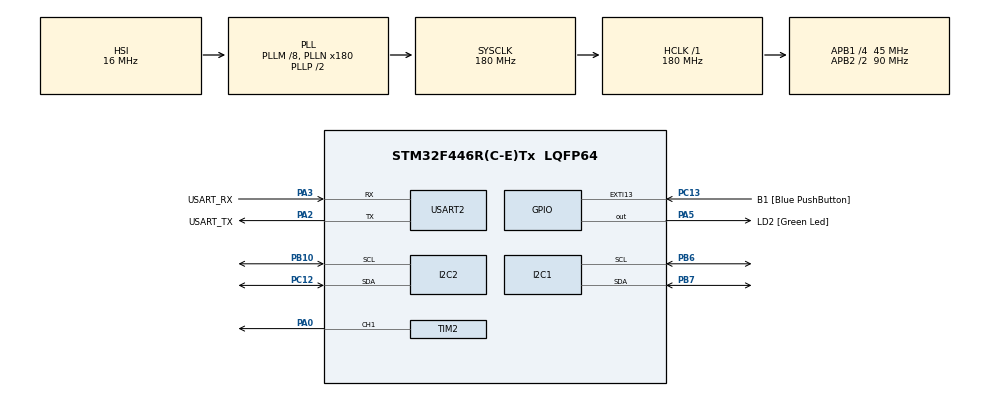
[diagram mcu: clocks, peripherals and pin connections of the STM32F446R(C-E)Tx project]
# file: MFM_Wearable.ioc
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Dma.I2C1_RX.2.Direction=DMA_PERIPH_TO_MEMORY
Dma.I2C1_RX.2.FIFOMode=DMA_FIFOMODE_DISABLE
Dma.I2C1_RX.2.Instance=DMA1_Stream0
Dma.I2C1_RX.2.MemDataAlignment=DMA_MDATAALIGN_BYTE
Dma.I2C1_RX.2.MemInc=DMA_MINC_ENABLE
Dma.I2C1_RX.2.Mode=DMA_NORMAL
Dma.I2C1_RX.2.PeriphDataAlignment=DMA_PDATAALIGN_BYTE
Dma.I2C1_RX.2.PeriphInc=DMA_PINC_DISABLE
Dma.I2C1_RX.2.Priority=DMA_PRIORITY_LOW
Dma.I2C2_RX.1.Direction=DMA_PERIPH_TO_MEMORY
Dma.I2C2_RX.1.FIFOMode=DMA_FIFOMODE_DISABLE
Dma.I2C2_RX.1.Instance=DMA1_Stream2
Dma.I2C2_RX.1.MemDataAlignment=DMA_MDATAALIGN_BYTE
Dma.I2C2_RX.1.MemInc=DMA_MINC_ENABLE
Dma.I2C2_RX.1.Mode=DMA_NORMAL
Dma.I2C2_RX.1.PeriphDataAlignment=DMA_PDATAALIGN_BYTE
Dma.I2C2_RX.1.PeriphInc=DMA_PINC_DISABLE
Dma.I2C2_RX.1.Priority=DMA_PRIORITY_LOW
Dma.Request0=USART2_RX
Dma.Request1=I2C2_RX
Dma.Request2=I2C1_RX
Dma.USART2_RX.0.Direction=DMA_PERIPH_TO_MEMORY
Dma.USART2_RX.0.FIFOMode=DMA_FIFOMODE_DISABLE
Dma.USART2_RX.0.Instance=DMA1_Stream5
Dma.USART2_RX.0.MemDataAlignment=DMA_MDATAALIGN_BYTE
Dma.USART2_RX.0.MemInc=DMA_MINC_ENABLE
Dma.USART2_RX.0.Mode=DMA_NORMAL
Dma.USART2_RX.0.PeriphDataAlignment=DMA_PDATAALIGN_BYTE
Dma.USART2_RX.0.PeriphInc=DMA_PINC_DISABLE
Dma.USART2_RX.0.Priority=DMA_PRIORITY_LOW
I2C1.I2C_Mode=I2C_Fast
I2C2.I2C_Mode=I2C_Fast
Mcu.Family=STM32F4
Mcu.Name=STM32F446R(C-E)Tx
Mcu.Package=LQFP64
NVIC.DMA1_Stream0_IRQn=true\:0\:0\:false\:false\:true\:false\:true\:true
NVIC.DMA1_Stream2_IRQn=true\:0\:0\:false\:false\:true\:false\:true\:true
NVIC.DMA1_Stream5_IRQn=true\:0\:0\:false\:false\:true\:false\:true\:true
NVIC.PriorityGroup=NVIC_PRIORITYGROUP_0
NVIC.TIM1_UP_TIM10_IRQn=true\:0\:0\:false\:false\:true\:true\:true\:true
NVIC.USART2_IRQn=true\:0\:0\:false\:false\:true\:true\:true\:true
PA0-WKUP.Signal=S_TIM2_CH1_ETR
PA13.GPIO_Label=TMS
PA13.Mode=Serial_Wire
PA13.Signal=SYS_JTMS-SWDIO
PA14.GPIO_Label=TCK
PA14.Mode=Serial_Wire
PA14.Signal=SYS_JTCK-SWCLK
PA2.GPIO_Label=USART_TX
PA2.GPIO_PuPd=GPIO_PULLUP
PA2.Mode=Asynchronous
PA2.Signal=USART2_TX
PA3.GPIO_Label=USART_RX
PA3.GPIO_PuPd=GPIO_PULLUP
PA3.Mode=Asynchronous
PA3.Signal=USART2_RX
PA5.GPIO_Label=LD2 [Green Led]
PA5.Signal=GPIO_Output
PB10.GPIO_Pu=GPIO_PULLUP
PB10.Mode=I2C
PB10.Signal=I2C2_SCL
PB3.GPIO_Label=SWO
PB3.Signal=SYS_JTDO-SWO
PB6.GPIO_Pu=GPIO_PULLUP
PB6.Mode=I2C
PB6.Signal=I2C1_SCL
PB7.GPIO_Pu=GPIO_PULLUP
PB7.Mode=I2C
PB7.Signal=I2C1_SDA
PC12.GPIO_Pu=GPIO_PULLUP
PC12.Mode=I2C
PC12.Signal=I2C2_SDA
PC13.GPIO_Label=B1 [Blue PushButton]
PC13.GPIO_ModeDefaultEXTI=GPIO_MODE_IT_FALLING
PC13.Signal=GPXTI13
PC14-OSC32_IN.Mode=LSE-External-Oscillator
PC14-OSC32_IN.Signal=RCC_OSC32_IN
PC15-OSC32_OUT.Mode=LSE-External-Oscillator
PC15-OSC32_OUT.Signal=RCC_OSC32_OUT
PH0-OSC_IN.Mode=HSE-External-Oscillator
PH0-OSC_IN.Signal=RCC_OSC_IN
PH1-OSC_OUT.Mode=HSE-External-Oscillator
PH1-OSC_OUT.Signal=RCC_OSC_OUT
ProjectManager.HeapSize=0x200
ProjectManager.StackSize=0x400
ProjectManager.TargetToolchain=STM32CubeIDE
RCC.48MHZClocksFreq_Value=84000000
RCC.AHBFreq_Value=180000000
RCC.APB1CLKDivider=RCC_HCLK_DIV4
RCC.APB1Freq_Value=45000000
RCC.APB1TimFreq_Value=90000000
RCC.APB2CLKDivider=RCC_HCLK_DIV2
RCC.APB2Freq_Value=90000000
RCC.APB2TimFreq_Value=180000000
RCC.CortexFreq_Value=180000000
RCC.FLatency-AdvancedSettings=FLASH_LATENCY_5
RCC.HCLKFreq_Value=180000000
RCC.HSE_VALUE=8000000
RCC.HSI_VALUE=16000000
RCC.PLLM=8
RCC.PLLN=180
RCC.SYSCLKFreq_VALUE=180000000
RCC.SYSCLKSource=RCC_SYSCLKSOURCE_PLLCLK
RCC.USBFreq_Value=180000000
RCC.VCOOutputFreq_Value=360000000
SH.S_TIM2_CH1_ETR.0=TIM2_CH1,PWM Generation1 CH1
TIM1.Period=59999
TIM1.Prescaler=2
TIM1.TIM_MasterOutputTrigger=TIM_TRGO_UPDATE
TIM2.Channel-PWM\ Generation1\ CH1=TIM_CHANNEL_1
TIM2.OCFastMode_PWM-PWM\ Generation1\ CH1=TIM_OCFAST_ENABLE
TIM2.Period=4499
TIM2.TIM_MasterOutputTrigger=TIM_TRGO_RESET
USART2.VirtualMode=VM_ASYNC
VP_TIM1_VS_ClockSourceINT.Mode=Internal
VP_TIM2_VS_ClockSourceINT.Mode=Internal
board=NUCLEO-F446RE

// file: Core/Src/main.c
/* USER CODE BEGIN Header */
/**
 ******************************************************************************
 * @file           : main.c
 * @brief          : Main program body
 ******************************************************************************
 * @attention
 * Copyright (c) 2025 STMicroelectronics.
 * All rights reserved.
 * This software is licensed under terms that can be found in the LICENSE file
 * in the root directory of this software component.
 * If no LICENSE file comes with this software, it is provided AS-IS.
 ******************************************************************************
 */
/* USER CODE END Header */
#include "main.h"

/* USER CODE BEGIN Includes */
#include <stdio.h>
#include <stdint.h>
#include <stdlib.h>
#include <math.h>
#include <inttypes.h>
#include <string.h>
#include <ctype.h>
#include <stdarg.h>
#include <stdbool.h>

#include "ads1115.h"
#include "filters.h"
#include "acs37800.h"
#include "controller.h"
/* USER CODE END Includes */

/* USER CODE BEGIN PD */
#define USART2_RX_BUFFER_SIZE 256
#define LINE_MAX              128

// ===== Heater electrical model =====
#define HEATER_R_NOM_OHM   3.2f
#define HEATER_TREF_C      25.0f
#define HEATER_TCR         0.00020f
#define R_FILTER_TAU_S     0.05f

// 상시 공급 전압 (내부 전력루프의 P↔duty 근사식에 사용)
#define VBUS_V             40.0f
/* USER CODE END PD */

/* USER CODE BEGIN PM */
static float Convert_Temperature(float Vin);
static void PWM_SetDuty_TIM2_CH1(float duty);
static void process_pc_line(const char* s);
static void uart2_poll_lines(void);
static inline void power_io_tick(void);
static void inner_power_tick(void);
static void PowerPI_RecalcGains(void);
static void outer_temp_tick(void);
/* USER CODE END PM */

I2C_HandleTypeDef hi2c1;
I2C_HandleTypeDef hi2c2;
DMA_HandleTypeDef hdma_i2c1_rx;
DMA_HandleTypeDef hdma_i2c2_rx;

TIM_HandleTypeDef htim1;
TIM_HandleTypeDef htim2;

UART_HandleTypeDef huart2;
DMA_HandleTypeDef hdma_usart2_rx;

/* USER CODE BEGIN PV */
volatile bool tim1Flag = 0;
volatile uint8_t loopCount = 0;

/* UART DMA buffers & line assembler (PC↔STM32 only on USART2) */
static uint8_t usart2_rx_buffer[USART2_RX_BUFFER_SIZE];
#define RX_RING_SZ 512
static uint8_t rx_ring[RX_RING_SZ];
static volatile uint16_t rx_head=0, rx_tail=0;
static char line_pc[LINE_MAX];   static uint16_t line_pc_len = 0;

/******** ADS1115 (온도) ********/
float voltageRaw = 0.0f;
float filtered_voltage = 0.0f;

/******** ACS37800: 전력 모니터 ********/
ACS37800_Handle acs;

/* SI 단위 값 (내부루프 사용) */
volatile float P_W    = 0.0f;
volatile float Vrms_V = 0.0f;
volatile float Irms_A = 0.0f;

/******** 외부 온도루프 (IMC-PI & FF) ********/
volatile float T_set_C = 25.0f;
static ControllerParams ctrlPar = {
		.Kp_proc = 10.34f,
		.tau=4.88f,
		.theta=0.64f,
		.lambda  = 15.0f,
		.Kc=0.0f,
		.Ti=42.8f,
		.Tt=0.5f,
		.Ts=0.01f,
		.u_min_W = 0.0f,
		.u_max_W=800.0f,
		.Kff     = 4.0f,
		.lam_ref = 0.0f,
		.use_dyn_ff=true,
		.theta_samp_max=799,
		.T_soft_max=85.0f,
		.T_hard_off=90.0f,
		.T_hard_rst=87.0f,
		.track_tau_s=30.0f,
		.p_off_w=0.02f,
		.duty_off=0.02f
};
static ControllerState ctrlSt;

/* ===== 모드 FSM ===== */
typedef enum { APP_IDLE=0, APP_ISOMETRIC, APP_TSTEP } AppMode_t;
typedef enum { ISO_HEAT=0, ISO_HOLD, ISO_COOL } IsoSub_t;
typedef enum { TS_GOTO=0, TS_HOLD } TstepSub_t;
static volatile AppMode_t app_mode = APP_IDLE;
static volatile IsoSub_t iso_sub = ISO_HEAT;
static volatile uint16_t iso_hold_s = 0;
static volatile uint16_t iso_cycles = 0;
static volatile uint32_t iso_cnt = 0;    // 100 Hz ticks
static volatile uint16_t inband_counter = 0;
static float             iso_target_C = 60.0f;
#define T_BAND 0.5f
#define COOL_TARGET_C 25.0f
#define BAND_COUNT_05S 50u

static volatile TstepSub_t ts_sub = TS_GOTO;
static volatile uint16_t ts_hold_s = 0;
static volatile uint16_t ts_cycles = 0;
static volatile float    ts_start = 30.0f;
static volatile float    ts_stop  = 80.0f;
static volatile float    ts_step  = 10.0f;
static volatile float    ts_curr  = 30.0f;
static volatile int8_t   ts_dir   = +1;
static volatile uint32_t ts_cnt   = 0;

/* ===== 내부(전력) 루프 PI ===== */
typedef struct { float kp, ki, Ts, Tt, i, umin, umax; } PowerPI_t;
static PowerPI_t powPI = { .kp=2e-3f, .ki=1e-2f, .Ts=0.001f, .Tt=0.02f, .i=0.0f, .umin=0.0f, .umax=0.9990f };

static volatile float P_ref_W = 0.0f;   // 외부 루프 전력 목표 (100 Hz)
static volatile float duty_cmd = 0.0f;  // 내부 루프 듀티 (1 kHz)
static float R_est_run = HEATER_R_NOM_OHM;

/* 전력센서 읽기 상태기계 */
static uint8_t acs_phase = 0;

/* 전력루프 대표 람다(사용자 조정) */
static float lam_pwr_s = 0.02f; /* [s] */
/* USER CODE END PV */

void SystemClock_Config(void);
static void MX_GPIO_Init(void);
static void MX_DMA_Init(void);
static void MX_USART2_UART_Init(void);
static void MX_I2C1_Init(void);
static void MX_I2C2_Init(void);
static void MX_TIM1_Init(void);
static void MX_TIM2_Init(void);
/* USER CODE BEGIN PFP */
int _write(int file, char* p, int len){
	HAL_UART_Transmit(&huart2, (uint8_t*)p, len, 10);
	return len;
}
/* USER CODE END PFP */

/* USER CODE BEGIN 0 */
static inline bool at_target_band(float T_meas, float T_target){
  return fabsf(T_meas - T_target) <= T_BAND;
}

static void step_isometric(float T_meas){
  switch (iso_sub){
    case ISO_HEAT:
      if (at_target_band(T_meas, T_set_C)){
        if (inband_counter < 10000) inband_counter++;
      } else {
        inband_counter = 0;
      }
      if (inband_counter >= BAND_COUNT_05S){ // 0.5s in band
        iso_cnt = (uint32_t)iso_hold_s * 100u;
        iso_sub = ISO_HOLD;
      }
      break;

    case ISO_HOLD:
      if (iso_cnt > 0) {
        iso_cnt--;
      } else {
        T_set_C = COOL_TARGET_C;
        inband_counter = 0;
        iso_sub = ISO_COOL;
      }
      break;

    case ISO_COOL:
      if (T_meas <= (COOL_TARGET_C + T_BAND)){
        if (inband_counter < 10000) inband_counter++;
      } else {
        inband_counter = 0;
      }
      if (inband_counter >= BAND_COUNT_05S){
        if (iso_cycles > 0) iso_cycles--;
        if (iso_cycles == 0){
          app_mode = APP_IDLE;
        } else {
          T_set_C = iso_target_C;
          inband_counter = 0;
          iso_sub = ISO_HEAT;
        }
      }
      break;
  }
}

static void step_tstep(float T_meas){
  switch (ts_sub){
    case TS_GOTO:
      if (at_target_band(T_meas, ts_curr)){
        ts_cnt = (uint32_t)ts_hold_s * 100u;
        ts_sub = TS_HOLD;
      }
      break;

    case TS_HOLD:
      if (ts_cnt > 0){
        ts_cnt--;
        break;
      }
      if (ts_dir > 0){ // going up
        if (ts_curr < ts_stop - 1e-6f){
          float next = ts_curr + ts_step;
          if (next > ts_stop) next = ts_stop;
          ts_curr = next; T_set_C = ts_curr; ts_sub = TS_GOTO;
        } else {
          ts_dir = -1;
          float next = ts_curr + ts_dir*ts_step;
          if (next < ts_start) next = ts_start;
          ts_curr = next; T_set_C = ts_curr; ts_sub = TS_GOTO;
        }
      } else { // going down
        if (ts_curr > ts_start + 1e-6f){
          float next = ts_curr - ts_step;
          if (next < ts_start) next = ts_start;
          ts_curr = next; T_set_C = ts_curr; ts_sub = TS_GOTO;
        } else {
          if (ts_cycles > 0) ts_cycles--;
          if (ts_cycles == 0){
            app_mode = APP_IDLE;
          } else {
            ts_dir = +1;
            float next = ts_curr + ts_step;
            if (next > ts_stop) next = ts_stop;
            ts_curr = next; T_set_C = ts_curr; ts_sub = TS_GOTO;
          }
        }
      }
      break;
  }
}
/* USER CODE END 0 */

int main(void)
{

  /* MCU Configuration--------------------------------------------------------*/

  /* Reset of all peripherals, Initializes the Flash interface and the Systick. */
  HAL_Init();

  /* Configure the system clock */
  SystemClock_Config();

  /* Initialize all configured peripherals */
  MX_GPIO_Init();
  MX_DMA_Init();
  MX_USART2_UART_Init();
  MX_I2C1_Init();
  MX_I2C2_Init();
  MX_TIM1_Init();
  MX_TIM2_Init();
  /* USER CODE BEGIN 2 */
	HAL_TIM_Base_Start_IT(&htim1);
	HAL_TIM_PWM_Start(&htim2, TIM_CHANNEL_1);

	/* USART2 (PC) DMA+IDLE */
	HAL_UARTEx_ReceiveToIdle_DMA(&huart2, usart2_rx_buffer, sizeof(usart2_rx_buffer));
	__HAL_DMA_DISABLE_IT(huart2.hdmarx, DMA_IT_HT);

	/* ADS1115 연속 변환 */
	if (ADS1115_Init_Continuous(&hi2c1, ADS1115_DATA_RATE_860, ADS1115_PGA_TWO, ADS1115_MUX_AIN0) != HAL_OK){
		printf("ADS1115 Continuous Init Failed!\r\n");
		Error_Handler();
	}

	/* ACS37800 설정 (N=32) */
	ACS37800_Init(&acs, &hi2c2, 0x60);
	ACS37800_SetTimeout(&acs, 20);
	ACS37800_SetBoardPololu(&acs, 4);
	ACS37800_SetSampleCount(&acs, 8);          // ★ N=32
	printf("ACS37800 ready (N=8)\r\n");

	/* 외부루프 IMC 파라미터 계산 & 상태 초기화 */
	Controller_SetLambda(&ctrlPar, &ctrlSt, ctrlPar.lambda);
	Controller_Init(&ctrlPar, &ctrlSt);

	PowerPI_RecalcGains();

	/* 초기 PWM 0% */
	PWM_SetDuty_TIM2_CH1(0.0f);
  /* USER CODE END 2 */

  /* Infinite loop */
  /* USER CODE BEGIN WHILE */
	while (1)
	{
		/* PC 명령 처리(메인루프) */
		uart2_poll_lines();

		if (tim1Flag) {
			tim1Flag = 0;

			/* 1 kHz: 전력센서 I/O + 내부 전력 루프 */
			power_io_tick();
			inner_power_tick();

			/* 100 Hz: 외부 온도 루프 */
			if (++loopCount >= 10) {
				loopCount = 0;
				outer_temp_tick();
			}
		}
    /* USER CODE END WHILE */

	}
}

void SystemClock_Config(void)
{
  RCC_OscInitTypeDef RCC_OscInitStruct = {0};
  RCC_ClkInitTypeDef RCC_ClkInitStruct = {0};

  /** Configure the main internal regulator output voltage
  */
  __HAL_RCC_PWR_CLK_ENABLE();
  __HAL_PWR_VOLTAGESCALING_CONFIG(PWR_REGULATOR_VOLTAGE_SCALE1);

  /** Initializes the RCC Oscillators according to the specified parameters
  * in the RCC_OscInitTypeDef structure.
  */
  RCC_OscInitStruct.OscillatorType = RCC_OSCILLATORTYPE_HSI;
  RCC_OscInitStruct.HSIState = RCC_HSI_ON;
  RCC_OscInitStruct.HSICalibrationValue = RCC_HSICALIBRATION_DEFAULT;
  RCC_OscInitStruct.PLL.PLLState = RCC_PLL_ON;
  RCC_OscInitStruct.PLL.PLLSource = RCC_PLLSOURCE_HSI;
  RCC_OscInitStruct.PLL.PLLM = 8;
  RCC_OscInitStruct.PLL.PLLN = 180;
  RCC_OscInitStruct.PLL.PLLP = RCC_PLLP_DIV2;
  RCC_OscInitStruct.PLL.PLLQ = 2;
  RCC_OscInitStruct.PLL.PLLR = 2;
  if (HAL_RCC_OscConfig(&RCC_OscInitStruct) != HAL_OK)
  {
    Error_Handler();
  }

  /** Activate the Over-Drive mode
  */
  if (HAL_PWREx_EnableOverDrive() != HAL_OK)
  {
    Error_Handler();
  }

  /** Initializes the CPU, AHB and APB buses clocks
  */
  RCC_ClkInitStruct.ClockType = RCC_CLOCKTYPE_HCLK|RCC_CLOCKTYPE_SYSCLK
                              |RCC_CLOCKTYPE_PCLK1|RCC_CLOCKTYPE_PCLK2;
  RCC_ClkInitStruct.SYSCLKSource = RCC_SYSCLKSOURCE_PLLCLK;
  RCC_ClkInitStruct.AHBCLKDivider = RCC_SYSCLK_DIV1;
  RCC_ClkInitStruct.APB1CLKDivider = RCC_HCLK_DIV4;
  RCC_ClkInitStruct.APB2CLKDivider = RCC_HCLK_DIV2;

  if (HAL_RCC_ClockConfig(&RCC_ClkInitStruct, FLASH_LATENCY_5) != HAL_OK)
  {
    Error_Handler();
  }
}

static void MX_I2C1_Init(void)
{

  hi2c1.Instance = I2C1;
  hi2c1.Init.ClockSpeed = 400000;
  hi2c1.Init.DutyCycle = I2C_DUTYCYCLE_2;
  hi2c1.Init.OwnAddress1 = 0;
  hi2c1.Init.AddressingMode = I2C_ADDRESSINGMODE_7BIT;
  hi2c1.Init.DualAddressMode = I2C_DUALADDRESS_DISABLE;
  hi2c1.Init.OwnAddress2 = 0;
  hi2c1.Init.GeneralCallMode = I2C_GENERALCALL_DISABLE;
  hi2c1.Init.NoStretchMode = I2C_NOSTRETCH_DISABLE;
  if (HAL_I2C_Init(&hi2c1) != HAL_OK)
  {
    Error_Handler();
  }

}

static void MX_I2C2_Init(void)
{

  hi2c2.Instance = I2C2;
  hi2c2.Init.ClockSpeed = 400000;
  hi2c2.Init.DutyCycle = I2C_DUTYCYCLE_2;
  hi2c2.Init.OwnAddress1 = 0;
  hi2c2.Init.AddressingMode = I2C_ADDRESSINGMODE_7BIT;
  hi2c2.Init.DualAddressMode = I2C_DUALADDRESS_DISABLE;
  hi2c2.Init.OwnAddress2 = 0;
  hi2c2.Init.GeneralCallMode = I2C_GENERALCALL_DISABLE;
  hi2c2.Init.NoStretchMode = I2C_NOSTRETCH_DISABLE;
  if (HAL_I2C_Init(&hi2c2) != HAL_OK)
  {
    Error_Handler();
  }

}

static void MX_TIM1_Init(void)
{

  TIM_ClockConfigTypeDef sClockSourceConfig = {0};
  TIM_MasterConfigTypeDef sMasterConfig = {0};

  htim1.Instance = TIM1;
  htim1.Init.Prescaler = 2;
  htim1.Init.CounterMode = TIM_COUNTERMODE_UP;
  htim1.Init.Period = 59999;
  htim1.Init.ClockDivision = TIM_CLOCKDIVISION_DIV1;
  htim1.Init.RepetitionCounter = 0;
  htim1.Init.AutoReloadPreload = TIM_AUTORELOAD_PRELOAD_DISABLE;
  if (HAL_TIM_Base_Init(&htim1) != HAL_OK)
  {
    Error_Handler();
  }
  sClockSourceConfig.ClockSource = TIM_CLOCKSOURCE_INTERNAL;
  if (HAL_TIM_ConfigClockSource(&htim1, &sClockSourceConfig) != HAL_OK)
  {
    Error_Handler();
  }
  sMasterConfig.MasterOutputTrigger = TIM_TRGO_UPDATE;
  sMasterConfig.MasterSlaveMode = TIM_MASTERSLAVEMODE_DISABLE;
  if (HAL_TIMEx_MasterConfigSynchronization(&htim1, &sMasterConfig) != HAL_OK)
  {
    Error_Handler();
  }

}

static void MX_TIM2_Init(void)
{

  TIM_ClockConfigTypeDef sClockSourceConfig = {0};
  TIM_MasterConfigTypeDef sMasterConfig = {0};
  TIM_OC_InitTypeDef sConfigOC = {0};

  htim2.Instance = TIM2;
  htim2.Init.Prescaler = 0;
  htim2.Init.CounterMode = TIM_COUNTERMODE_UP;
  htim2.Init.Period = 4499;
  htim2.Init.ClockDivision = TIM_CLOCKDIVISION_DIV1;
  htim2.Init.AutoReloadPreload = TIM_AUTORELOAD_PRELOAD_DISABLE;
  if (HAL_TIM_Base_Init(&htim2) != HAL_OK)
  {
    Error_Handler();
  }
  sClockSourceConfig.ClockSource = TIM_CLOCKSOURCE_INTERNAL;
  if (HAL_TIM_ConfigClockSource(&htim2, &sClockSourceConfig) != HAL_OK)
  {
    Error_Handler();
  }
  if (HAL_TIM_PWM_Init(&htim2) != HAL_OK)
  {
    Error_Handler();
  }
  sMasterConfig.MasterOutputTrigger = TIM_TRGO_RESET;
  sMasterConfig.MasterSlaveMode = TIM_MASTERSLAVEMODE_DISABLE;
  if (HAL_TIMEx_MasterConfigSynchronization(&htim2, &sMasterConfig) != HAL_OK)
  {
    Error_Handler();
  }
  sConfigOC.OCMode = TIM_OCMODE_PWM1;
  sConfigOC.Pulse = 0;
  sConfigOC.OCPolarity = TIM_OCPOLARITY_HIGH;
  sConfigOC.OCFastMode = TIM_OCFAST_ENABLE;
  if (HAL_TIM_PWM_ConfigChannel(&htim2, &sConfigOC, TIM_CHANNEL_1) != HAL_OK)
  {
    Error_Handler();
  }
  HAL_TIM_MspPostInit(&htim2);

}

static void MX_USART2_UART_Init(void)
{

  huart2.Instance = USART2;
  huart2.Init.BaudRate = 115200;
  huart2.Init.WordLength = UART_WORDLENGTH_8B;
  huart2.Init.StopBits = UART_STOPBITS_1;
  huart2.Init.Parity = UART_PARITY_NONE;
  huart2.Init.Mode = UART_MODE_TX_RX;
  huart2.Init.HwFlowCtl = UART_HWCONTROL_NONE;
  huart2.Init.OverSampling = UART_OVERSAMPLING_16;
  if (HAL_UART_Init(&huart2) != HAL_OK)
  {
    Error_Handler();
  }

}

static void MX_DMA_Init(void)
{

  /* DMA controller clock enable */
  __HAL_RCC_DMA1_CLK_ENABLE();

  /* DMA interrupt init */
  /* DMA1_Stream0_IRQn interrupt configuration */
  HAL_NVIC_SetPriority(DMA1_Stream0_IRQn, 0, 0);
  HAL_NVIC_EnableIRQ(DMA1_Stream0_IRQn);
  /* DMA1_Stream2_IRQn interrupt configuration */
  HAL_NVIC_SetPriority(DMA1_Stream2_IRQn, 0, 0);
  HAL_NVIC_EnableIRQ(DMA1_Stream2_IRQn);
  /* DMA1_Stream5_IRQn interrupt configuration */
  HAL_NVIC_SetPriority(DMA1_Stream5_IRQn, 0, 0);
  HAL_NVIC_EnableIRQ(DMA1_Stream5_IRQn);

}

static void MX_GPIO_Init(void)
{
  GPIO_InitTypeDef GPIO_InitStruct = {0};

  /* GPIO Ports Clock Enable */
  __HAL_RCC_GPIOC_CLK_ENABLE();
  __HAL_RCC_GPIOH_CLK_ENABLE();
  __HAL_RCC_GPIOA_CLK_ENABLE();
  __HAL_RCC_GPIOB_CLK_ENABLE();

  /*Configure GPIO pin Output Level */
  HAL_GPIO_WritePin(LD2_GPIO_Port, LD2_Pin, GPIO_PIN_RESET);

  /*Configure GPIO pin : B1_Pin */
  GPIO_InitStruct.Pin = B1_Pin;
  GPIO_InitStruct.Mode = GPIO_MODE_IT_FALLING;
  GPIO_InitStruct.Pull = GPIO_NOPULL;
  HAL_GPIO_Init(B1_GPIO_Port, &GPIO_InitStruct);

  /*Configure GPIO pin : LD2_Pin */
  GPIO_InitStruct.Pin = LD2_Pin;
  GPIO_InitStruct.Mode = GPIO_MODE_OUTPUT_PP;
  GPIO_InitStruct.Pull = GPIO_NOPULL;
  GPIO_InitStruct.Speed = GPIO_SPEED_FREQ_LOW;
  HAL_GPIO_Init(LD2_GPIO_Port, &GPIO_InitStruct);

}

/* USER CODE BEGIN 4 */
static inline float clampf(float x, float lo, float hi){
	if (x < lo) return lo; if (x > hi) return hi; return x;
}

/* 1) 타이머 틱(1 kHz) 플래그 */
void HAL_TIM_PeriodElapsedCallback(TIM_HandleTypeDef *htim){
	if(htim->Instance==TIM1){
		tim1Flag = 1;
	}
}

/* 2) UART2 RX(IDLE+DMA) → 링버퍼 적재(파싱은 메인루프) */
void HAL_UARTEx_RxEventCallback(UART_HandleTypeDef *huart, uint16_t Size){
	if (huart == &huart2) {
		for (uint16_t i=0;i<Size;i++){
			uint16_t nxt = (rx_head+1) % RX_RING_SZ;
			if (nxt != rx_tail){ rx_ring[rx_head] = usart2_rx_buffer[i]; rx_head = nxt; }
		}
		HAL_UARTEx_ReceiveToIdle_DMA(&huart2, usart2_rx_buffer, sizeof(usart2_rx_buffer));
		__HAL_DMA_DISABLE_IT(huart2.hdmarx, DMA_IT_HT);
	}
}

/* 3) PC 명령 라인 파싱(메인루프 호출) */
static void process_pc_line(const char* s); // 후방선언
static void uart2_poll_lines(void){
	while (rx_tail != rx_head){
		char ch = (char)rx_ring[rx_tail]; rx_tail = (rx_tail+1) % RX_RING_SZ;
		if (ch=='\n' || ch=='\r'){
			if (line_pc_len>0){ line_pc[line_pc_len]='\0'; process_pc_line(line_pc); line_pc_len=0; }
		} else if (isprint((int)ch)) {
			if (line_pc_len < LINE_MAX-1) line_pc[line_pc_len++] = ch;
		}
	}
}

/* 4) 전력루프 PI 게인 자동 계산 (VBUS=40V, IMC풍) */
static void PowerPI_RecalcGains(void){
	float R = (R_est_run > 0.05f) ? R_est_run : 0.05f;
	float Kp_pwr = (VBUS_V*VBUS_V) / R;            // [W per duty]
	float theta_p = 2.0f * powPI.Ts;               // 소지연 보정(~2Ts)
	float lam = clampf(lam_pwr_s, 0.002f, 2.0f);
	float Kc = 1.0f / (Kp_pwr * (lam + theta_p));
	powPI.kp = Kc;
	powPI.ki = Kc / lam;
	/* powPI.Tt는 초기값(0.02s) 유지 */
}

/* 5) 전력센서 I/O(1 kHz 분산) + R 추정 + 게인 갱신 */
static inline void power_io_tick(void){
	switch (acs_phase){
	case 0:
		if (ACS37800_ReadActiveAndReactivePower(&acs) == HAL_OK){
			P_W = 0.001f * (float)acs.activePowerMilliwatts;
			if (P_W < 0.0f) P_W = 0.0f;
		}
		acs_phase = 1;
		break;

	case 1:
		if (ACS37800_ReadRMSVoltageAndCurrent(&acs) == HAL_OK){
			Vrms_V = 0.001f * (float)acs.rmsVoltageMillivolts;
			Irms_A = 0.001f * (float)acs.rmsCurrentMilliamps;
		}
		acs_phase = 2;
		break;

	case 2: {
		const float alpha = powPI.Ts / R_FILTER_TAU_S; // 0.001 / 2.0
		float Ttmp = Convert_Temperature(filtered_voltage);
		float R_meas = (Irms_A > 0.1f && Vrms_V > 0.3f)
                		   ? (Vrms_V/(Irms_A+1e-6f))
                				   : HEATER_R_NOM_OHM*(1.0f + HEATER_TCR*(Ttmp-HEATER_TREF_C));
		R_est_run += alpha * (R_meas - R_est_run);
		R_est_run = clampf(R_est_run, 0.5f, 20.0f);

		PowerPI_RecalcGains();
		acs_phase = 0;
	} break;
	}
}

/* 6) 내부 전력루프(1 kHz): 센서 전력(Prms) 피드백 */
static void inner_power_tick(void){
	float Pref  = P_ref_W;
	float Pmeas = P_W;
	float e = Pref - Pmeas;

	float u = /*duty_ff +*/ powPI.kp*e + powPI.i;
	float u_sat = clampf(u, powPI.umin, powPI.umax);

	float i_dot = powPI.ki*e + (u_sat - u)/powPI.Tt;
	powPI.i += powPI.Ts * i_dot;

	duty_cmd = u_sat;
	PWM_SetDuty_TIM2_CH1(duty_cmd);
}

/* 7) 외부 온도루프(100 Hz): IMC-PI+FF → 전력목표 산출 */
static void outer_temp_tick(void){
	if (ADS1115_readContinuous(&voltageRaw) == HAL_OK){
		filtered_voltage = MAFTemp(voltageRaw);
	}
	float T_meas = Convert_Temperature(filtered_voltage);

	switch (app_mode){
	case APP_ISOMETRIC: step_isometric(T_meas); break;
	case APP_TSTEP:     step_tstep(T_meas);     break;
	default: break;
	}

	float u_des_W = 0.0f, duty_hint = 0.0f;
	ctrlSt.duty_last = duty_cmd;
	Controller_Step(&ctrlPar, &ctrlSt, T_set_C, T_meas, P_W, VBUS_V, R_est_run,
			&duty_hint, &u_des_W);
	P_ref_W = u_des_W;

	printf("%.3f,%.3f,%.3f,%.1f,%.1f\r\n",T_meas, T_set_C, (double)P_W, (double)(duty_cmd*100.0f), 0.0);
}

/* 8) PC 명령 — 대표 파라미터만 튜닝 */
static void process_pc_line(const char* s){
	if (s[0]=='M'){ // Isometric
		int cyc=0, sec=0; sscanf(s+1,"%d,%d",&cyc,&sec);
		if (cyc<0) cyc=0; if (sec<0) sec=0;
		iso_cycles=(uint16_t)cyc; iso_hold_s=(uint16_t)sec;
		inband_counter=0; iso_cnt=0; iso_target_C=T_set_C; iso_sub=ISO_HEAT; app_mode=APP_ISOMETRIC; return;
	}
	if (s[0]=='T'){ // Thermal step
		int cyc=0, sec=0; float t0=30, t1=80, dT=10;
		sscanf(s+1,"%d,%d,%f,%f,%f",&cyc,&sec,&t0,&t1,&dT);
		if (cyc<0) cyc=0; if (sec<0) sec=0; if (dT<=0) dT=1;
		if (t1 < t0){ float tmp=t0; t0=t1; t1=tmp; }
		ts_cycles=(uint16_t)cyc; ts_hold_s=(uint16_t)sec;
		ts_start=t0; ts_stop=t1; ts_step=dT;
		ts_curr=ts_start; ts_dir=+1; T_set_C=ts_curr; ts_cnt=0; ts_sub=TS_GOTO; app_mode=APP_TSTEP; return;
	}
	if (s[0]=='R'){ Controller_ResetIntegrator(&ctrlSt); powPI.i=0.0f; return; }

	if (s[0]=='A' && s[1]==','){
	    float v[8]={0};
	    int n = sscanf(s+2, "%f,%f,%f,%f,%f,%f,%f,%f",
	                   &v[0],&v[1],&v[2],&v[3],&v[4],&v[5],&v[6],&v[7]);
	    /* 0:Tset */
	    if (n>=1){ T_set_C = v[0]; }

	    /* 1: λ_outer (IMC-PI) */
	    if (n>=2){ Controller_SetLambda(&ctrlPar, &ctrlSt, v[1]); }

	    /* 2: kff (feedforward gain) */
	    if (n>=3){ Controller_SetKff(&ctrlPar, v[2]); }

	    /* 3: Tt_outer (anti-windup time const) */
	    if (n>=4){ ctrlPar.Tt = clampf(v[3], 0.05f, 10.0f); }

	    /* 4: λ_power (inner power-loop) */
	    if (n>=5){
	      lam_pwr_s = clampf(v[4], 0.002f, 2.0f);
	      PowerPI_RecalcGains();
	      powPI.i = 0.0f;
	    }

	    /* 5,6: Duty min/max (GUI가 ratio 또는 % 둘 다 허용) */
	    if (n>=6){
	      float umin = v[5];
	      float umax = (n>=7) ? v[6] : powPI.umax;
	      /* 퍼센트로 왔으면 0~100 → 0~1 변환, ratio면 그대로 */
	      if (umin > 1.0f || umax > 1.0f) { umin *= 0.01f; umax *= 0.01f; }
	      powPI.umin = clampf(umin, 0.0f, 0.9990f);
	      powPI.umax = clampf(umax, powPI.umin, 0.9990f);
	    }

	    /* 7: Tt_power (inner anti-windup) */
	    if (n>=8){
	      powPI.Tt = clampf(v[7], 0.005f, 5.0f);
	    }
	    return;
	  }

	if (s[0]=='U' && s[1]==','){ // 듀티 한계
		float umin=powPI.umin, umax=powPI.umax;
		if (sscanf(s+2, "%f,%f", &umin, &umax) >= 1){
			powPI.umin = clampf(umin, 0.0f, 0.9990f);
			powPI.umax = clampf(umax, powPI.umin, 0.9990f);
		}
		return;
	}

	if (s[0]=='G' && s[1]==','){ // 공정모델
		float Kp=ctrlPar.Kp_proc, tau=ctrlPar.tau, th=ctrlPar.theta;
		int n = sscanf(s+2, "%f,%f,%f", &Kp, &tau, &th);
		if (n>=1) ctrlPar.Kp_proc = Kp;
		if (n>=2) ctrlPar.tau     = tau;
		if (n>=3) ctrlPar.theta   = th;
		Controller_UpdatePlant(&ctrlPar, &ctrlSt, ctrlPar.Kp_proc, ctrlPar.tau, ctrlPar.theta);
		return;
	}
}

/* 9) 변환함수 & PWM 설정 */
static float Convert_Temperature(float Vin) {
	const float Vref = 1.25f;
	const float sensitivity = 0.005f; // 5 mV/°C
	float Temp_Celsius = (Vin - Vref) / sensitivity + 3.9f;
	return Temp_Celsius;
}

static void PWM_SetDuty_TIM2_CH1(float duty){
	if (duty < 0.0f) duty = 0.0f;
	if (duty > 0.9999f) duty = 0.9999f;
	uint32_t arr = __HAL_TIM_GET_AUTORELOAD(&htim2);
	uint32_t ccr = (uint32_t)((arr + 1) * duty);
	__HAL_TIM_SET_COMPARE(&htim2, TIM_CHANNEL_1, ccr);
}
/* USER CODE END 4 */

void Error_Handler(void)
{
	__disable_irq();
	while (1)
	{
	}
}
